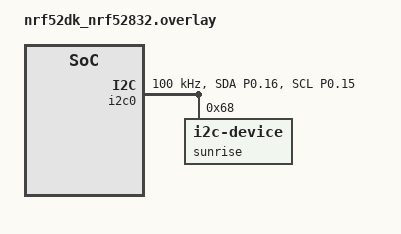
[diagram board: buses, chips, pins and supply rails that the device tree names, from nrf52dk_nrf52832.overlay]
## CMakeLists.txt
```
# SPDX-License-Identifier: Apache-2.0

cmake_minimum_required(VERSION 3.20.0)
find_package(Zephyr REQUIRED HINTS $ENV{ZEPHYR_BASE})
project(peripheral)

target_sources(app PRIVATE
    src/main.c
    src/sunrise.c
    src/ble_ess.c
)
```

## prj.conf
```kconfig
# BLE
CONFIG_BT=y
CONFIG_BT_PERIPHERAL=y
CONFIG_BT_DEVICE_NAME="AltCO2"
CONFIG_BT_DEVICE_APPEARANCE=1351

# GATT
CONFIG_BT_GATT_CLIENT=y

# Logging
CONFIG_LOG=y
CONFIG_LOG_DEFAULT_LEVEL=3
CONFIG_USE_SEGGER_RTT=y
CONFIG_RTT_CONSOLE=y
CONFIG_LOG_BACKEND_RTT=y

# I2C
CONFIG_I2C=y
CONFIG_SENSOR=y
```

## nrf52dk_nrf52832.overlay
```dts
&i2c0 {
    compatible = "nordic,nrf-twim";
    status = "okay";
    pinctrl-0 = <&i2c0_default>;
    pinctrl-1 = <&i2c0_sleep>;
    pinctrl-names = "default", "sleep";
    clock-frequency = <I2C_BITRATE_STANDARD>;

    sunrise: sunrise@68 {
        compatible = "i2c-device";
        reg = <0x68>;
    };
};

&pinctrl {
    i2c0_default: i2c0_default {
        group1 {
            psels = <NRF_PSEL(TWIM_SDA, 0, 16)>,
                    <NRF_PSEL(TWIM_SCL, 0, 15)>;
        };
    };

    i2c0_sleep: i2c0_sleep {
        group1 {
            psels = <NRF_PSEL(TWIM_SDA, 0, 16)>,
                    <NRF_PSEL(TWIM_SCL, 0, 15)>;
            low-power-enable;
        };
    };
};
```

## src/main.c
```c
#include <stdlib.h>

#include <zephyr/kernel.h>
#include <zephyr/logging/log.h>
#include "sunrise.h"
#include "ble_ess.h"

LOG_MODULE_REGISTER(main, LOG_LEVEL_DBG);

int main(void)
{
    LOG_INF("AltCO2 starting...");

    if (sunrise_init() != 0)
    {
        LOG_ERR("Sunrise init failed!");
        return -1;
    }

    if (ble_ess_init() != 0)
    {
        LOG_ERR("BLE init failed!");
        return -1;
    }

    sunrise_data_t data;
    while (1)
    {
        if (sunrise_read(&data) == 0)
        {
            LOG_INF("CO2: %d ppm | Temp: %d.%02d C",
                    data.co2_ppm,
                    data.temperature_cdeg / 100,
                    abs(data.temperature_cdeg % 100));

            ble_ess_update_co2(data.co2_ppm);
            ble_ess_update_temperature(data.temperature_cdeg);
            ble_ess_update_co2_str(data.co2_ppm, data.temperature_cdeg);
        }
        k_sleep(K_SECONDS(16));
    }

    return 0;
}
```

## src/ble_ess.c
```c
#include "ble_ess.h"

#include <stdio.h>
#include <stdlib.h>
#include <string.h>

#include <zephyr/bluetooth/bluetooth.h>
#include <zephyr/bluetooth/conn.h>
#include <zephyr/bluetooth/gatt.h>
#include <zephyr/bluetooth/hci.h>
#include <zephyr/bluetooth/uuid.h>
#include <zephyr/kernel.h>
#include <zephyr/logging/log.h>
#include <errno.h>
#include <zephyr/sys/util.h>

LOG_MODULE_REGISTER(ble_ess, LOG_LEVEL_DBG);

#define BT_UUID_CO2 BT_UUID_DECLARE_16(0x2B8C)
#define BT_UUID_TEMP BT_UUID_DECLARE_16(0x2A6E)

static uint16_t co2_ppm;
static int16_t temperature_cdeg;
static uint16_t humidity_centi_pct;
static uint32_t pressure_deci_pa;
static char co2_str[32];
static struct k_work_delayable adv_restart_work;

#define ADV_RESTART_DELAY_MS 200
#define ADV_RESTART_RETRY_MS 1000

static ssize_t read_co2(struct bt_conn *conn,
                        const struct bt_gatt_attr *attr,
                        void *buf,
                        uint16_t len,
                        uint16_t offset)
{
    return bt_gatt_attr_read(conn, attr, buf, len, offset,
                             &co2_ppm, sizeof(co2_ppm));
}

static ssize_t read_temperature(struct bt_conn *conn,
                                const struct bt_gatt_attr *attr,
                                void *buf,
                                uint16_t len,
                                uint16_t offset)
{
    return bt_gatt_attr_read(conn, attr, buf, len, offset,
                             &temperature_cdeg, sizeof(temperature_cdeg));
}

static ssize_t read_humidity(struct bt_conn *conn,
                             const struct bt_gatt_attr *attr,
                             void *buf,
                             uint16_t len,
                             uint16_t offset)
{
    return bt_gatt_attr_read(conn, attr, buf, len, offset,
                             &humidity_centi_pct, sizeof(humidity_centi_pct));
}

static ssize_t read_pressure(struct bt_conn *conn,
                             const struct bt_gatt_attr *attr,
                             void *buf,
                             uint16_t len,
                             uint16_t offset)
{
    return bt_gatt_attr_read(conn, attr, buf, len, offset,
                             &pressure_deci_pa, sizeof(pressure_deci_pa));
}

static ssize_t read_co2_str(struct bt_conn *conn,
                            const struct bt_gatt_attr *attr,
                            void *buf,
                            uint16_t len,
                            uint16_t offset)
{
    return bt_gatt_attr_read(conn, attr, buf, len, offset,
                             co2_str, strlen(co2_str));
}

BT_GATT_SERVICE_DEFINE(ess_svc,
    BT_GATT_PRIMARY_SERVICE(BT_UUID_ESS),

    BT_GATT_CHARACTERISTIC(BT_UUID_CO2,
                           BT_GATT_CHRC_READ | BT_GATT_CHRC_NOTIFY,
                           BT_GATT_PERM_READ,
                           read_co2, NULL, &co2_ppm),
    BT_GATT_CCC(NULL, BT_GATT_PERM_READ | BT_GATT_PERM_WRITE),

    BT_GATT_CHARACTERISTIC(BT_UUID_TEMP,
                           BT_GATT_CHRC_READ | BT_GATT_CHRC_NOTIFY,
                           BT_GATT_PERM_READ,
                           read_temperature, NULL, &temperature_cdeg),
    BT_GATT_CCC(NULL, BT_GATT_PERM_READ | BT_GATT_PERM_WRITE),

    BT_GATT_CHARACTERISTIC(BT_UUID_HUMIDITY,
                           BT_GATT_CHRC_READ | BT_GATT_CHRC_NOTIFY,
                           BT_GATT_PERM_READ,
                           read_humidity, NULL, &humidity_centi_pct),
    BT_GATT_CCC(NULL, BT_GATT_PERM_READ | BT_GATT_PERM_WRITE),

    BT_GATT_CHARACTERISTIC(BT_UUID_PRESSURE,
                           BT_GATT_CHRC_READ | BT_GATT_CHRC_NOTIFY,
                           BT_GATT_PERM_READ,
                           read_pressure, NULL, &pressure_deci_pa),
    BT_GATT_CCC(NULL, BT_GATT_PERM_READ | BT_GATT_PERM_WRITE),

    BT_GATT_CHARACTERISTIC(BT_UUID_DECLARE_16(0x2901),
                           BT_GATT_CHRC_READ | BT_GATT_CHRC_NOTIFY,
                           BT_GATT_PERM_READ,
                           read_co2_str, NULL, co2_str),
    BT_GATT_CCC(NULL, BT_GATT_PERM_READ | BT_GATT_PERM_WRITE)
);

static const struct bt_data ad[] = {
    BT_DATA_BYTES(BT_DATA_FLAGS,
                  BT_LE_AD_GENERAL | BT_LE_AD_NO_BREDR),
    BT_DATA_BYTES(BT_DATA_UUID16_ALL,
                  BT_UUID_16_ENCODE(0x181A)),
};

static const struct bt_data sd[] = {
    BT_DATA(BT_DATA_NAME_COMPLETE,
            CONFIG_BT_DEVICE_NAME,
            sizeof(CONFIG_BT_DEVICE_NAME) - 1),
};

static int start_advertising(void)
{
    int ret = bt_le_adv_start(BT_LE_ADV_CONN_FAST_1, ad, ARRAY_SIZE(ad), sd, ARRAY_SIZE(sd));

    if (ret == -EALREADY)
    {
        return 0;
    }

    return ret;
}

static void adv_restart_work_handler(struct k_work *work)
{
    ARG_UNUSED(work);

    int ret = start_advertising();
    if (ret)
    {
        LOG_WRN("Advertising restart failed: %d, retry in %d ms",
                ret, ADV_RESTART_RETRY_MS);
        (void)k_work_reschedule(&adv_restart_work, K_MSEC(ADV_RESTART_RETRY_MS));
    }
    else
    {
        LOG_INF("Advertising restarted");
    }
}

static void connected(struct bt_conn *conn, uint8_t err)
{
    ARG_UNUSED(conn);

    if (err)
    {
        LOG_ERR("Connection failed: %d", err);
    }
    else
    {
        LOG_INF("Connected");
    }
}

static void disconnected(struct bt_conn *conn, uint8_t reason)
{
    ARG_UNUSED(conn);
    LOG_INF("Disconnected, reason: %d", reason);

    (void)k_work_reschedule(&adv_restart_work, K_MSEC(ADV_RESTART_DELAY_MS));
}

BT_CONN_CB_DEFINE(conn_callbacks) = {
    .connected = connected,
    .disconnected = disconnected,
};

int ble_ess_init(void)
{
    k_work_init_delayable(&adv_restart_work, adv_restart_work_handler);

    int ret = bt_enable(NULL);
    if (ret)
    {
        LOG_ERR("BT enable failed: %d", ret);
        return ret;
    }

    ret = start_advertising();
    if (ret)
    {
        LOG_ERR("Advertising start failed: %d", ret);
        return ret;
    }

    LOG_INF("BLE ESS advertising started");
    return 0;
}

void ble_ess_update_co2(uint16_t ppm)
{
    co2_ppm = ppm;
    bt_gatt_notify(NULL, &ess_svc.attrs[1], &co2_ppm, sizeof(co2_ppm));
}

void ble_ess_update_temperature(int16_t temp_cdeg)
{
    temperature_cdeg = temp_cdeg;
    bt_gatt_notify(NULL, &ess_svc.attrs[4], &temperature_cdeg, sizeof(temperature_cdeg));
}

void ble_ess_update_humidity(uint16_t humi_centi_pct)
{
    humidity_centi_pct = humi_centi_pct;
    bt_gatt_notify(NULL, &ess_svc.attrs[7], &humidity_centi_pct, sizeof(humidity_centi_pct));
}

void ble_ess_update_pressure(uint32_t press_deci_pa)
{
    pressure_deci_pa = press_deci_pa;
    bt_gatt_notify(NULL, &ess_svc.attrs[10], &pressure_deci_pa, sizeof(pressure_deci_pa));
}

void ble_ess_update_co2_str(uint16_t co2_value_ppm, int16_t temp_cdeg)
{
    snprintf(co2_str, sizeof(co2_str), "CO2:%dppm T:%d.%02dC",
             (int)co2_value_ppm,
             temp_cdeg / 100,
             abs(temp_cdeg % 100));

    bt_gatt_notify(NULL, &ess_svc.attrs[13], co2_str, strlen(co2_str));
}
```

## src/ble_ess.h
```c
#pragma once

#include <stdint.h>

int ble_ess_init(void);
void ble_ess_update_co2(uint16_t co2_ppm);
void ble_ess_update_temperature(int16_t temperature_cdeg);
void ble_ess_update_humidity(uint16_t humidity_centi_pct);
void ble_ess_update_pressure(uint32_t pressure_deci_pa);
void ble_ess_update_co2_str(uint16_t co2_ppm, int16_t temp_cdeg);
```

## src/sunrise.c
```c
#include "sunrise.h"

#include <stdlib.h>

#include <zephyr/drivers/gpio.h>
#include <zephyr/drivers/i2c.h>
#include <zephyr/kernel.h>
#include <zephyr/logging/log.h>

LOG_MODULE_REGISTER(sunrise, LOG_LEVEL_DBG);

#define REG_ERROR_STATUS 0x01
#define REG_CO2_FILTERED 0x06

#define WAKEUP_TIME_MS 35
#define NRDY_TIMEOUT_MS 2000

#define CO2_EN_PIN 26
#define CO2_NRDY_PIN 27

#define SUNRISE_ADDR 0x68

static const struct device *i2c_dev;
static const struct device *gpio_dev;

static int sunrise_wakeup(void)
{
    uint8_t dummy = REG_CO2_FILTERED;
    int ret = i2c_write(i2c_dev, &dummy, 1, SUNRISE_ADDR);

    /* First write may NACK while sensor wakes up. */
    if (ret && ret != -EIO)
    {
        LOG_DBG("Wakeup write returned: %d", ret);
    }

    k_sleep(K_MSEC(5));
    return 0;
}

static int sunrise_read_reg16(uint8_t reg, uint16_t *value)
{
    uint8_t buf[2];
    int ret = i2c_write_read(i2c_dev, SUNRISE_ADDR, &reg, 1, buf, 2);

    if (ret)
    {
        LOG_ERR("Read reg 0x%02x failed: %d", reg, ret);
        return ret;
    }

    *value = (buf[0] << 8) | buf[1];
    return 0;
}

static int wait_nrdy(void)
{
    int timeout = NRDY_TIMEOUT_MS;

    while (gpio_pin_get(gpio_dev, CO2_NRDY_PIN) != 0)
    {
        k_sleep(K_MSEC(10));
        timeout -= 10;

        if (timeout <= 0)
        {
            LOG_WRN("nRDY timeout");
            return -ETIMEDOUT;
        }
    }

    return 0;
}

int sunrise_init(void)
{
    uint16_t errors;

    i2c_dev = DEVICE_DT_GET(DT_NODELABEL(i2c0));
    gpio_dev = DEVICE_DT_GET(DT_NODELABEL(gpio0));

    if (!device_is_ready(i2c_dev))
    {
        LOG_ERR("I2C not ready");
        return -ENODEV;
    }

    if (!device_is_ready(gpio_dev))
    {
        LOG_ERR("GPIO not ready");
        return -ENODEV;
    }

    int ret = gpio_pin_configure(gpio_dev, CO2_EN_PIN, GPIO_OUTPUT_ACTIVE);
    if (ret)
    {
        LOG_ERR("CO2_EN pin configure failed: %d", ret);
        return ret;
    }

    ret = gpio_pin_set(gpio_dev, CO2_EN_PIN, 1);
    if (ret)
    {
        LOG_ERR("CO2_EN pin set failed: %d", ret);
        return ret;
    }

    ret = gpio_pin_configure(gpio_dev, CO2_NRDY_PIN, GPIO_INPUT);
    if (ret)
    {
        LOG_ERR("CO2_NRDY pin configure failed: %d", ret);
        return ret;
    }

    k_sleep(K_MSEC(WAKEUP_TIME_MS));

    sunrise_wakeup();
    ret = sunrise_read_reg16(REG_ERROR_STATUS, &errors);
    if (ret)
    {
        LOG_ERR("Sunrise not responding");
        return ret;
    }

    if (errors)
    {
        LOG_WRN("Sunrise error status: 0x%04x (may clear after first measurement)", errors);

        /* Bit 15 is expected at startup and can be ignored. */
        if (errors & ~0x8000)
        {
            LOG_ERR("Critical errors present");
            return -EIO;
        }
    }
    else
    {
        LOG_INF("Sunrise OK, no errors");
    }

    return 0;
}

int sunrise_read(sunrise_data_t *data)
{
    if (data == NULL)
    {
        return -EINVAL;
    }

    int ret = wait_nrdy();
    if (ret)
    {
        return ret;
    }

    sunrise_wakeup();

    uint8_t reg = REG_CO2_FILTERED;
    uint8_t buf[4];

    ret = i2c_write_read(i2c_dev, SUNRISE_ADDR, &reg, 1, buf, 4);
    if (ret)
    {
        LOG_ERR("Read failed: %d", ret);
        return ret;
    }

    data->co2_ppm = (buf[0] << 8) | buf[1];
    data->temperature_cdeg = (int16_t)((buf[2] << 8) | buf[3]);

    LOG_DBG("CO2: %d ppm, temp: %d.%02d C",
            data->co2_ppm,
            data->temperature_cdeg / 100,
            abs(data->temperature_cdeg % 100));

    return 0;
}
```

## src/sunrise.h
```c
#pragma once

#include <stdint.h>

typedef struct {
    uint16_t co2_ppm;
    int16_t  temperature_cdeg; /* температура в сотых градуса, например 2350 = 23.50 C */
} sunrise_data_t;

int sunrise_init(void);
int sunrise_read(sunrise_data_t *data);
```
